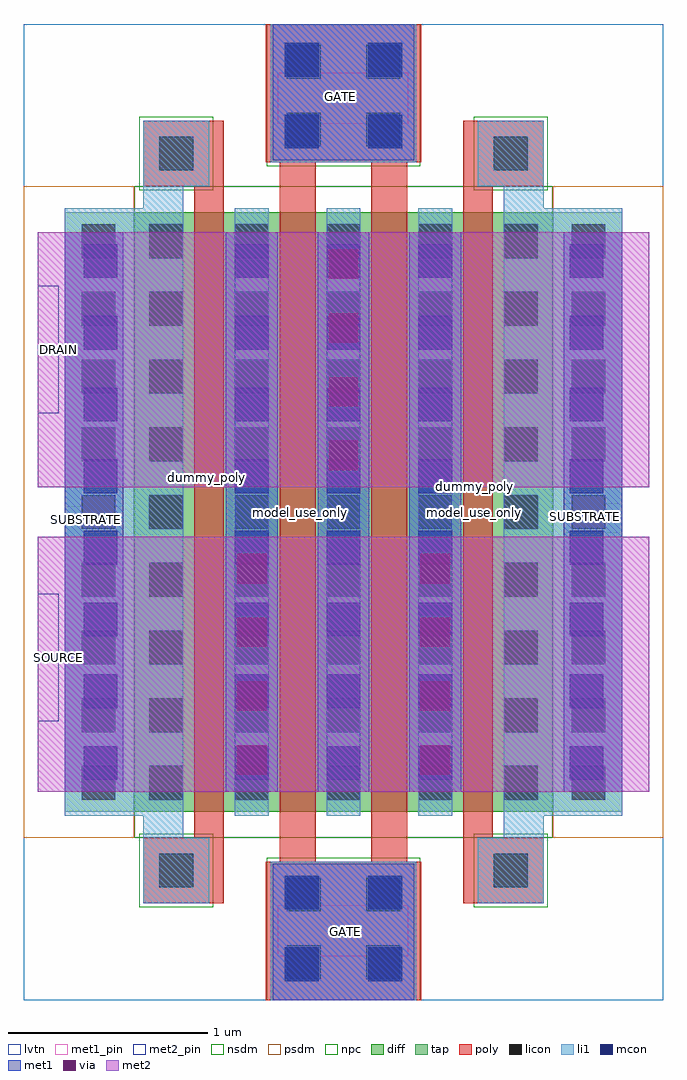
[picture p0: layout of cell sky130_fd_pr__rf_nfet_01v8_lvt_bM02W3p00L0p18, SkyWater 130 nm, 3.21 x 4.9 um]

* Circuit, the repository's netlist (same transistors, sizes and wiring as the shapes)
* Copyright 2020 The SkyWater PDK Authors
*
* Licensed under the Apache License, Version 2.0 (the "License");
* you may not use this file except in compliance with the License.
* You may obtain a copy of the License at
*
*     https://www.apache.org/licenses/LICENSE-2.0
*
* Unless required by applicable law or agreed to in writing, software
* distributed under the License is distributed on an "AS IS" BASIS,
* WITHOUT WARRANTIES OR CONDITIONS OF ANY KIND, either express or implied.
* See the License for the specific language governing permissions and
* limitations under the License.
*
* SPDX-License-Identifier: Apache-2.0


.subckt sky130_fd_pr__rf_nfet_01v8_lvt_bM02W3p00L0p18 DRAIN GATE SOURCE SUBSTRATE
X0 SOURCE SUBSTRATE SUBSTRATE SUBSTRATE sky130_fd_pr__nfet_01v8_lvt w=3.01e+06u l=150000u
X1 DRAIN GATE SOURCE SUBSTRATE sky130_fd_pr__nfet_01v8_lvt w=3.01e+06u l=180000u
X2 SUBSTRATE SUBSTRATE SOURCE SUBSTRATE sky130_fd_pr__nfet_01v8_lvt w=3.01e+06u l=150000u
X3 SOURCE GATE DRAIN SUBSTRATE sky130_fd_pr__nfet_01v8_lvt w=3.01e+06u l=180000u
.ends

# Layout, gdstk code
import gdstk
lib = gdstk.Library(unit=1e-6, precision=1e-09)
def R(c, l, rs):  # rectangles x0, y0, x1, y1
    for r in rs: c.add(gdstk.rectangle(r[:2], r[2:], *l))
def A(c, l, x, y, w, h, nx, ny, dx, dy):  # array of equal rectangles
    R(c, l, [(x+i*dx, y+j*dy, x+i*dx+w, y+j*dy+h) for i in range(nx) for j in range(ny)])
diff = (65, 20)
tap = (65, 44)
poly = (66, 20)
licon = (66, 44)
li1 = (67, 20)
mcon = (67, 44)
met1_pin = (68, 16)
met1 = (68, 20)
via = (68, 44)
met2_pin = (69, 16)
met2 = (69, 20)
nsdm = (93, 44)
psdm = (94, 20)
npc = (95, 20)
lvtn = (125, 44)

sky130_fd_pr__rf_nfet_01 = lib.new_cell('sky130_fd_pr__rf_nfet_01v8_lvt_bM02W3p00L0p18')
R(sky130_fd_pr__rf_nfet_01, diff, [(0.555,0.945,2.655,3.955)])
R(sky130_fd_pr__rf_nfet_01, tap, [(0.205,0.945,0.555,3.955), (2.655,0.945,3.005,3.955)])
R(sky130_fd_pr__rf_nfet_01, poly, [(1.215,0,1.995,0.695), (0.6,0.485,0.93,0.815), (0.855,0.485,1.005,4.415), (2.205,0.485,2.355,4.415), (2.28,0.485,2.61,0.815), (1.285,0.695,1.465,4.205), (1.745,0.695,1.925,4.205), (0.6,4.085,0.93,4.415), (2.28,4.085,2.61,4.415), (1.215,4.205,1.995,4.9)])
A(sky130_fd_pr__rf_nfet_01, licon, 0.29, 1.005, 0.17, 0.17, 1, 9, 0, 0.34)
A(sky130_fd_pr__rf_nfet_01, licon, 0.63, 1.005, 0.17, 0.17, 1, 9, 0, 0.34)
A(sky130_fd_pr__rf_nfet_01, licon, 1.06, 1.005, 0.17, 0.17, 3, 9, 0.46, 0.34)
A(sky130_fd_pr__rf_nfet_01, licon, 2.41, 1.005, 0.17, 0.17, 1, 9, 0, 0.34)
A(sky130_fd_pr__rf_nfet_01, licon, 2.75, 1.005, 0.17, 0.17, 1, 9, 0, 0.34)
R(sky130_fd_pr__rf_nfet_01, licon, [(1.32,0.105,1.49,0.275), (1.72,0.105,1.89,0.275), (1.32,0.445,1.49,0.615), (1.72,0.445,1.89,0.615), (0.68,0.565,0.85,0.735), (2.36,0.565,2.53,0.735), (0.68,4.165,0.85,4.335), (2.36,4.165,2.53,4.335), (1.32,4.285,1.49,4.455), (1.72,4.285,1.89,4.455), (1.32,4.625,1.49,4.795), (1.72,4.625,1.89,4.795)])
A(sky130_fd_pr__rf_nfet_01, li1, 1.06, 0.925, 0.17, 3.05, 3, 1, 0.46, 0)
R(sky130_fd_pr__rf_nfet_01, li1, [(1.24,0,1.97,0.695), (0.6,0.485,0.93,0.815), (2.28,0.485,2.61,0.815), (0.6,0.815,0.8,0.925), (2.41,0.815,2.61,0.925), (0.205,0.925,0.8,3.975), (2.41,0.925,3.005,3.975), (0.6,3.975,0.8,4.085), (2.41,3.975,2.61,4.085), (0.6,4.085,0.93,4.415), (2.28,4.085,2.61,4.415), (1.24,4.205,1.97,4.9)])
A(sky130_fd_pr__rf_nfet_01, mcon, 0.3, 1.105, 0.17, 0.17, 1, 8, 0, 0.36)
A(sky130_fd_pr__rf_nfet_01, mcon, 1.06, 1.105, 0.17, 0.17, 3, 8, 0.46, 0.36)
A(sky130_fd_pr__rf_nfet_01, mcon, 2.74, 1.105, 0.17, 0.17, 1, 8, 0, 0.36)
R(sky130_fd_pr__rf_nfet_01, mcon, [(1.31,0.095,1.48,0.265), (1.73,0.095,1.9,0.265), (1.31,0.455,1.48,0.625), (1.73,0.455,1.9,0.625), (1.31,4.275,1.48,4.445), (1.73,4.275,1.9,4.445), (1.31,4.635,1.48,4.805), (1.73,4.635,1.9,4.805)])
R(sky130_fd_pr__rf_nfet_01, met1_pin, [(1.275,0.22,1.93,0.475), (0.205,2.33,0.5,2.48), (2.71,2.345,3.005,2.495), (1.275,4.4,1.93,4.655)])
A(sky130_fd_pr__rf_nfet_01, met1, 1.015, 1.045, 0.26, 2.81, 3, 1, 0.46, 0)
R(sky130_fd_pr__rf_nfet_01, met1, [(1.25,0,1.96,0.685), (0.205,1.045,0.5,3.855), (1.015,1.045,1.275,2.325), (1.935,1.045,2.195,2.325), (2.71,1.045,3.005,3.855), (1.475,2.575,1.735,3.855), (1.25,4.215,1.96,4.9)])
A(sky130_fd_pr__rf_nfet_01, via, 1.07, 1.13, 0.15, 0.15, 1, 4, 0, 0.32)
A(sky130_fd_pr__rf_nfet_01, via, 1.99, 1.13, 0.15, 0.15, 1, 4, 0, 0.32)
A(sky130_fd_pr__rf_nfet_01, via, 1.53, 2.66, 0.15, 0.15, 1, 4, 0, 0.32)
R(sky130_fd_pr__rf_nfet_01, met2_pin, [(0.07,1.4,0.175,2.04), (0.07,2.945,0.175,3.585)])
R(sky130_fd_pr__rf_nfet_01, met2, [(0.07,1.045,3.14,2.325), (1.015,1.045,1.275,2.325), (1.935,1.045,2.195,2.325), (0.07,2.575,3.14,3.855), (1.475,2.575,1.735,3.855)])
R(sky130_fd_pr__rf_nfet_01, nsdm, [(0.555,0.815,2.655,4.085)])
R(sky130_fd_pr__rf_nfet_01, psdm, [(0,0.815,0.555,4.085), (2.655,0.815,3.21,4.085)])
R(sky130_fd_pr__rf_nfet_01, npc, [(1.22,0,1.99,0.715), (0.58,0.465,0.95,0.835), (2.26,0.465,2.63,0.835), (0.58,4.065,0.95,4.435), (2.26,4.065,2.63,4.435), (1.22,4.185,1.99,4.9)])
R(sky130_fd_pr__rf_nfet_01, lvtn, [(0,0,3.21,4.9)])
sky130_fd_pr__rf_nfet_01.add(gdstk.Label('dummy_poly', (0.915,2.625), layer=83, texttype=44))
sky130_fd_pr__rf_nfet_01.add(gdstk.Label('dummy_poly', (2.265,2.58), layer=83, texttype=44))
sky130_fd_pr__rf_nfet_01.add(gdstk.Label('GATE', (1.615,0.345), layer=68, texttype=5))
sky130_fd_pr__rf_nfet_01.add(gdstk.Label('GATE', (1.59,4.535), layer=68, texttype=5))
sky130_fd_pr__rf_nfet_01.add(gdstk.Label('SUBSTRATE', (0.315,2.41), layer=68, texttype=16))
sky130_fd_pr__rf_nfet_01.add(gdstk.Label('SUBSTRATE', (2.82,2.425), layer=68, texttype=16))
sky130_fd_pr__rf_nfet_01.add(gdstk.Label('model_use_only', (1.39,2.45), layer=66, texttype=83))
sky130_fd_pr__rf_nfet_01.add(gdstk.Label('model_use_only', (1.82,2.45), layer=66, texttype=83))
sky130_fd_pr__rf_nfet_01.add(gdstk.Label('model_use_only', (0.915,2.45), layer=66, texttype=83))
sky130_fd_pr__rf_nfet_01.add(gdstk.Label('model_use_only', (2.265,2.45), layer=66, texttype=83))
sky130_fd_pr__rf_nfet_01.add(gdstk.Label('SOURCE', (0.175,1.72), layer=69, texttype=5))
sky130_fd_pr__rf_nfet_01.add(gdstk.Label('DRAIN', (0.175,3.265), layer=69, texttype=5))

lib.write_gds('sky130_fd_pr__rf_nfet_01v8_lvt_bM02W3p00L0p18.gds')
